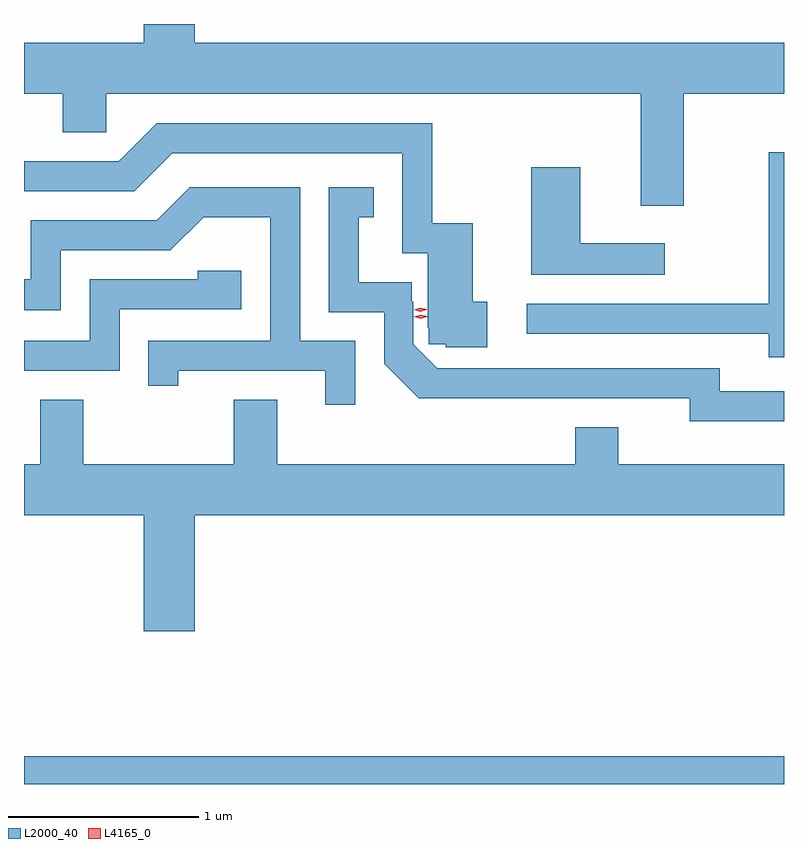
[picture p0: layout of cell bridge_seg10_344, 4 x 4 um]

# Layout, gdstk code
import gdstk
lib = gdstk.Library(unit=1e-6, precision=1e-09)
def R(c, l, rs):  # rectangles x0, y0, x1, y1
    for r in rs: c.add(gdstk.rectangle(r[:2], r[2:], *l))
def P(c, l, *ps):  # polygons
    for p in ps: c.add(gdstk.Polygon(p, *l))
L2000_40 = (2000, 40)
L4165_0 = (4165, 0)

bridge_seg10_344 = lib.new_cell('bridge_seg10_344')
R(bridge_seg10_344, L2000_40, [(1093.566,2201.302,1097.566,2201.449)])
P(bridge_seg10_344, L2000_40, [(1097.039,2204.936),(1097.566,2204.936),(1097.566,2205.204),(1094.464,2205.204),(1094.464,2205.302),(1094.196,2205.302),(1094.196,2205.204),(1093.566,2205.204),(1093.566,2204.936),(1093.771,2204.936),(1093.771,2204.731),(1093.999,2204.731),(1093.999,2204.936),(1096.811,2204.936),(1096.811,2204.346),(1097.039,2204.346)],
  [(1096.004,2203.839),(1095.929,2203.839),(1095.929,2204.254),(1095.714,2204.254),(1095.714,2204.779),(1094.264,2204.779),(1094.064,2204.579),(1093.566,2204.579),(1093.566,2204.421),(1094.147,2204.421),(1094.347,2204.621),(1095.556,2204.621),(1095.556,2204.096),(1095.692,2204.096),(1095.692,2203.704),(1095.697,2203.704),(1095.697,2203.617),(1095.787,2203.617),(1095.787,2203.601),(1096.004,2203.601)],
  [(1097.566,2204.628),(1097.486,2204.628),(1097.486,2203.829),(1096.213,2203.829),(1096.213,2203.671),(1097.486,2203.671),(1097.486,2203.548),(1097.566,2203.548)],
  [(1096.938,2204.149),(1096.494,2204.149),(1096.494,2204.549),(1096.236,2204.549),(1096.236,2203.981),(1096.938,2203.981)],
  [(1095.309,2203.634),(1095.019,2203.634),(1095.019,2204.444),(1094.439,2204.444),(1094.264,2204.269),(1093.601,2204.269),(1093.601,2203.959),(1093.566,2203.959),(1093.566,2203.796),(1093.759,2203.796),(1093.759,2204.111),(1094.337,2204.111),(1094.512,2204.286),(1094.861,2204.286),(1094.861,2203.634),(1094.221,2203.634),(1094.221,2203.398),(1094.379,2203.398),(1094.379,2203.476),(1095.151,2203.476),(1095.151,2203.298),(1095.309,2203.298)],
  [(1097.566,2203.369),(1097.229,2203.369),(1097.229,2203.489),(1095.741,2203.489),(1095.614,2203.616),(1095.614,2203.84),(1095.608,2203.84),(1095.608,2203.944),(1095.329,2203.944),(1095.329,2204.286),(1095.408,2204.286),(1095.408,2204.444),(1095.171,2204.444),(1095.171,2203.786),(1095.461,2203.786),(1095.461,2203.514),(1095.644,2203.331),(1097.071,2203.331),(1097.071,2203.211),(1097.566,2203.211)],
  [(1094.069,2203.801),(1094.709,2203.801),(1094.709,2204.004),(1094.481,2204.004),(1094.481,2203.959),(1093.911,2203.959),(1093.911,2203.634),(1093.566,2203.634),(1093.566,2203.476),(1094.069,2203.476)],
  [(1094.464,2202.716),(1097.566,2202.716),(1097.566,2202.984),(1096.694,2202.984),(1096.694,2203.179),(1096.466,2203.179),(1096.466,2202.984),(1094.899,2202.984),(1094.899,2203.324),(1094.671,2203.324),(1094.671,2202.984),(1093.879,2202.984),(1093.879,2203.324),(1093.651,2203.324),(1093.651,2202.984),(1093.566,2202.984),(1093.566,2202.716),(1094.196,2202.716),(1094.196,2202.106),(1094.464,2202.106)])
P(bridge_seg10_344, L4165_0, [(1095.653,2203.751),(1095.618,2203.76),(1095.617,2203.76),(1095.618,2203.761),(1095.653,2203.771),(1095.688,2203.763),(1095.689,2203.762),(1095.688,2203.762)],
  [(1095.652,2203.788),(1095.619,2203.797),(1095.618,2203.797),(1095.619,2203.798),(1095.651,2203.808),(1095.685,2203.8),(1095.685,2203.799),(1095.685,2203.799)])

lib.write_gds('bridge_seg10_344.gds')
